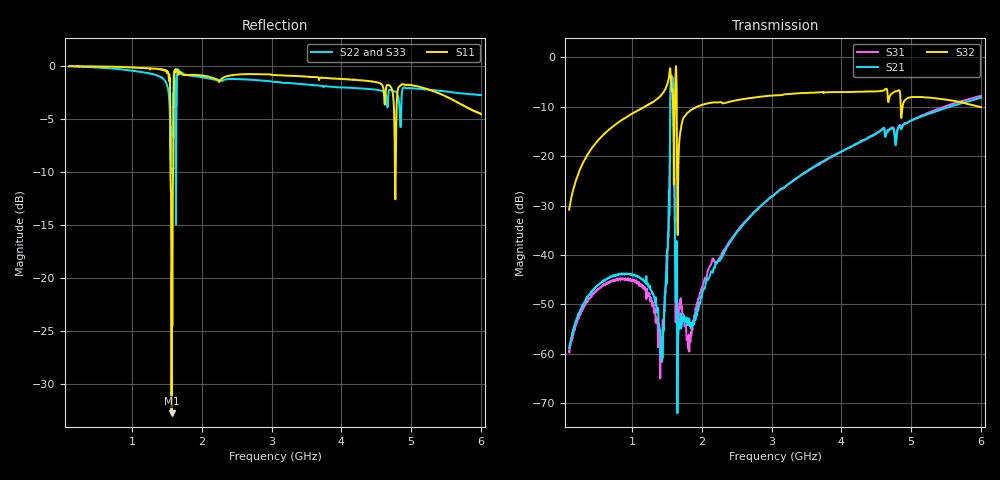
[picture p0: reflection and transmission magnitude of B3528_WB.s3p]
! Matrix data file written by TouchstoneData, EPCOS AG
! FILENAME: "LU67B2_5_WB.s3p_newformat"
! COMMENT: "(LU67B2_5_WB.s3p) EPCOS AG 18.04.2011 16:08:"
! INFO: nport=3, nfreq=1601
! DATE: "Mon Apr 18 17:00:16 2011"
! USER: "Michael Schemies"
! port | pin | signal
!  1  |  2  |  input
!  2  |  4  |  output
!  3  |  6  |  output
# MHZ S MA R 50
! freq  magS11 angS11  magS12 angS12  magS13 angS13  ...
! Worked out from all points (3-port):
!   1601 points, 100 MHz to 6 GHz, reference 50 ohm
!   strongest paths, dB at 100 MHz, 1.575 GHz, 3.05 GHz, 4.525 GHz, 6 GHz:
!     S32: -30.8, -6.7, -7.7, -6.9, -10.1
!     S21: -58.8, -4.0, -27.7, -15.2, -8.2
!     S31: -59.4, -4.4, -27.7, -15.1, -7.8
!   lowest |S11| = -32.7 dB at 1.568 GHz (marker M1), VSWR 1.05, Z = 51.4 - j1.86 ohm
!   |S11| at or under -10 dB: 1.553 GHz to 1.589 GHz (36.31 MHz wide, 2.31 % of centre); 4.768863 GHz to 4.779644 GHz (10.78 MHz wide, 0.226 % of centre)
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100  0.9997 -6.1  0.001143 84.2  0.001066 83.7
     0.001144 84.5  0.999 -4.5  0.02874 85.3
     0.001066 83.4  0.02873 85.2  0.9978 -4.5
892.8125  0.9899 -52.7  0.006335 50.7  0.005588 52.0
          0.006302 50.8  0.9617 -38.5  0.2414 50.4
          0.005564 51.9  0.2413 50.5  0.9646 -39.3
1420.125  0.9665 -90.7  0.001178 83.2  0.001065 115.0
          0.001186 83.0  0.8871 -63.4  0.4131 24.7
          0.001083 114.8  0.4136 24.8  0.89 -64.5
1512.312  0.9352 -119.7  0.01121 -180.0  0.01271 178.4
          0.01121 -179.9  0.7962 -75.3  0.5512 12.1
          0.01272 178.5  0.5503 12.0  0.8016 -76.2
1567.625  0.02312 -51.5  0.6562 41.2  0.5756 -144.2
          0.6555 41.3  0.4406 -37.5  0.4926 -44.5
          0.5759 -144.3  0.4923 -44.4  0.5412 -47.7
1652.438  0.9575 -56.8  0.0002511 86.2  0.0005474 -135.8
          0.000249 86.7  0.9636 -36.5  0.02294 -109.1
          0.0005386 -135.2  0.0229 -109.1  0.9687 -38.0
1811  0.9088 -82.3  0.002019 96.2  0.001342 93.9
      0.002016 96.1  0.905 -64.0  0.2801 18.8
      0.001336 93.5  0.2795 18.8  0.9111 -65.2
3050  0.909 -133.8  0.04142 156.8  0.04123 157.1
      0.04142 156.9  0.8437 -101.9  0.4122 -15.4
      0.04111 157.2  0.4123 -15.4  0.8478 -102.3
4849.5  0.8098 163.7  0.1971 94.4  0.1977 96.0
        0.1972 94.3  0.516 -155.2  0.3421 -99.1
        0.1972 96.0  0.3418 -99.1  0.5394 -147.3
6000  0.5953 95.6  0.3913 44.4  0.4099 45.7
      0.3901 44.2  0.7313 157.9  0.3153 -91.6
      0.4086 45.6  0.3143 -91.4  0.7244 163.8
